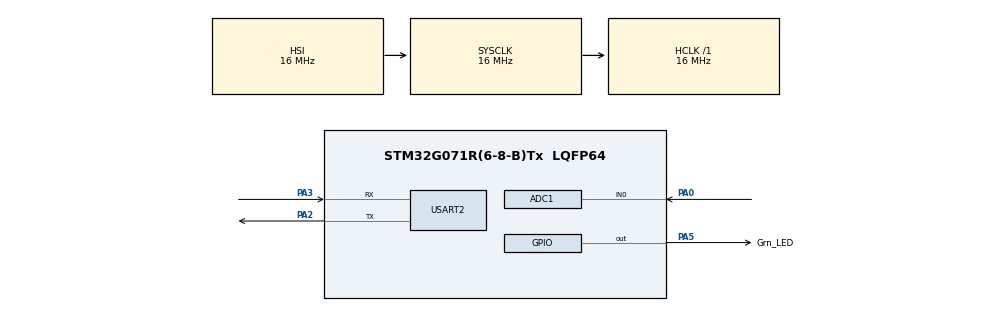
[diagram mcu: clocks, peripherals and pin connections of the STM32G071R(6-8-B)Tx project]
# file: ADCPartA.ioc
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ADC1.Channel-0\#ChannelRegularConversion=ADC_CHANNEL_0
ADC1.NbrOfConversionFlag=1
ADC1.Rank-0\#ChannelRegularConversion=1
ADC1.SamplingTime-0\#ChannelRegularConversion=ADC_SAMPLINGTIME_COMMON_1
ADC1.SamplingTimeCommon1=ADC_SAMPLETIME_3CYCLES_5
ADC1.SamplingTimeCommon2=ADC_SAMPLETIME_3CYCLES_5
ADC1.SelectedChannel=ADC_CHANNEL_0
ADC1.master=1
Mcu.Family=STM32G0
Mcu.Name=STM32G071R(6-8-B)Tx
Mcu.Package=LQFP64
PA0.Mode=IN0
PA0.Signal=ADC1_IN0
PA2.Mode=Asynchronous
PA2.Signal=USART2_TX
PA3.Mode=Asynchronous
PA3.Signal=USART2_RX
PA5.GPIO_Label=Grn_LED
PA5.Signal=GPIO_Output
ProjectManager.HeapSize=0x200
ProjectManager.StackSize=0x400
ProjectManager.TargetToolchain=STM32CubeIDE
RCC.AHBFreq_Value=16000000
RCC.CortexFreq_Value=16000000
RCC.EXTERNAL_CLOCK_VALUE=48000
RCC.HCLKFreq_Value=16000000
RCC.HSE_VALUE=8000000
RCC.HSI_VALUE=16000000
RCC.LSE_VALUE=32768
RCC.SYSCLKFreq_VALUE=16000000
RCC.VCOOutputFreq_Value=128000000
USART2.VirtualMode-Asynchronous=VM_ASYNC
board=custom

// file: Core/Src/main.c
/* USER CODE BEGIN Header */
/**
  ******************************************************************************
  * @file           : main.c
  * @brief          : Main program body
  ******************************************************************************
  * @attention
  *
  * Copyright (c) 2024 STMicroelectronics.
  * All rights reserved.
  *
  * This software is licensed under terms that can be found in the LICENSE file
  * in the root directory of this software component.
  * If no LICENSE file comes with this software, it is provided AS-IS.
  *
  ******************************************************************************
  */
/* USER CODE END Header */
#include "main.h"

/* USER CODE BEGIN PD */
#define NUMBER_OF_SAMPLES 1
#define NUMBER_OF_INPUTS 1
#define NUMBER_OF_CONVERSIONS (NUMBER_OF_SAMPLES*NUMBER_OF_INPUTS)

/* USER CODE END PD */

ADC_HandleTypeDef hadc1;

UART_HandleTypeDef huart2;

/* USER CODE BEGIN PV */
uint16_t ADCBuffer[NUMBER_OF_CONVERSIONS];
uint16_t ADCBufferIndex = 0;

/* USER CODE END PV */

void SystemClock_Config(void);
static void MX_GPIO_Init(void);
static void MX_ADC1_Init(void);
static void MX_USART2_UART_Init(void);

int main(void)
{

  /* USER CODE BEGIN 1 */
	void PrintOutputBuffer(uint8_t *OutputBuffer)
	  {
	  	uint32_t StringLength;
	  	HAL_StatusTypeDef HALStatus;

	  	for(StringLength =0; *(OutputBuffer+StringLength); StringLength++);

	  	HALStatus =HAL_UART_Transmit(&huart2, OutputBuffer,StringLength, HAL_MAX_DELAY);

	  	if(HALStatus !=HAL_OK){
	  		Error_Handler();
	  	}

	  }

  /* USER CODE END 1 */

  /* MCU Configuration--------------------------------------------------------*/

  /* Reset of all peripherals, Initializes the Flash interface and the Systick. */
  HAL_Init();

  /* Configure the system clock */
  SystemClock_Config();

  /* Initialize all configured peripherals */
  MX_GPIO_Init();
  MX_ADC1_Init();
  MX_USART2_UART_Init();
  /* USER CODE BEGIN 2 */
  if(HAL_ADCEx_Calibration_Start(&hadc1) != HAL_OK){
	  Error_Handler();
  }
  uint8_t OutputBuffer[200];
  /* USER CODE END 2 */

  /* Infinite loop */
  /* USER CODE BEGIN WHILE */
  while (1)

  {

	  //LED On
	  HAL_GPIO_TogglePin(Grn_LED_GPIO_Port,Grn_LED_Pin);

	  //Start ADC conversion
	  HAL_ADC_Start(&hadc1);
	  //Wait until conversion is complete
	  HAL_ADC_PollForConversion(&hadc1, HAL_MAX_DELAY);
	  HAL_ADC_Stop(&hadc1);

	  //LED OFF
	  HAL_GPIO_TogglePin(Grn_LED_GPIO_Port,Grn_LED_Pin);

	  //Store the conversion value in the buffer and update the buffer index.
	  ADCBuffer[ADCBufferIndex] = HAL_ADC_GetValue(&hadc1);
	  ADCBufferIndex++;
	  if(ADCBufferIndex == NUMBER_OF_CONVERSIONS){
		  ADCBufferIndex =0;
		  for(uint32_t i=0; i<NUMBER_OF_SAMPLES; i++){
			  sprintf((char *) OutputBuffer, "ADC sample = %u\r\n",ADCBuffer[i]);
			  PrintOutputBuffer(OutputBuffer);

		  }
	  }
    /* USER CODE END WHILE */

  }
}

void SystemClock_Config(void)
{
  RCC_OscInitTypeDef RCC_OscInitStruct = {0};
  RCC_ClkInitTypeDef RCC_ClkInitStruct = {0};

  /** Configure the main internal regulator output voltage
  */
  HAL_PWREx_ControlVoltageScaling(PWR_REGULATOR_VOLTAGE_SCALE1);

  /** Initializes the RCC Oscillators according to the specified parameters
  * in the RCC_OscInitTypeDef structure.
  */
  RCC_OscInitStruct.OscillatorType = RCC_OSCILLATORTYPE_HSI;
  RCC_OscInitStruct.HSIState = RCC_HSI_ON;
  RCC_OscInitStruct.HSIDiv = RCC_HSI_DIV1;
  RCC_OscInitStruct.HSICalibrationValue = RCC_HSICALIBRATION_DEFAULT;
  RCC_OscInitStruct.PLL.PLLState = RCC_PLL_NONE;
  if (HAL_RCC_OscConfig(&RCC_OscInitStruct) != HAL_OK)
  {
    Error_Handler();
  }

  /** Initializes the CPU, AHB and APB buses clocks
  */
  RCC_ClkInitStruct.ClockType = RCC_CLOCKTYPE_HCLK|RCC_CLOCKTYPE_SYSCLK
                              |RCC_CLOCKTYPE_PCLK1;
  RCC_ClkInitStruct.SYSCLKSource = RCC_SYSCLKSOURCE_HSI;
  RCC_ClkInitStruct.AHBCLKDivider = RCC_SYSCLK_DIV1;
  RCC_ClkInitStruct.APB1CLKDivider = RCC_HCLK_DIV1;

  if (HAL_RCC_ClockConfig(&RCC_ClkInitStruct, FLASH_LATENCY_0) != HAL_OK)
  {
    Error_Handler();
  }
}

static void MX_ADC1_Init(void)
{

  ADC_ChannelConfTypeDef sConfig = {0};

  /** Configure the global features of the ADC (Clock, Resolution, Data Alignment and number of conversion)
  */
  hadc1.Instance = ADC1;
  hadc1.Init.ClockPrescaler = ADC_CLOCK_SYNC_PCLK_DIV2;
  hadc1.Init.Resolution = ADC_RESOLUTION_12B;
  hadc1.Init.DataAlign = ADC_DATAALIGN_RIGHT;
  hadc1.Init.ScanConvMode = ADC_SCAN_DISABLE;
  hadc1.Init.EOCSelection = ADC_EOC_SINGLE_CONV;
  hadc1.Init.LowPowerAutoWait = DISABLE;
  hadc1.Init.LowPowerAutoPowerOff = DISABLE;
  hadc1.Init.ContinuousConvMode = DISABLE;
  hadc1.Init.NbrOfConversion = 1;
  hadc1.Init.DiscontinuousConvMode = DISABLE;
  hadc1.Init.ExternalTrigConv = ADC_SOFTWARE_START;
  hadc1.Init.ExternalTrigConvEdge = ADC_EXTERNALTRIGCONVEDGE_NONE;
  hadc1.Init.DMAContinuousRequests = DISABLE;
  hadc1.Init.Overrun = ADC_OVR_DATA_PRESERVED;
  hadc1.Init.SamplingTimeCommon1 = ADC_SAMPLETIME_3CYCLES_5;
  hadc1.Init.SamplingTimeCommon2 = ADC_SAMPLETIME_3CYCLES_5;
  hadc1.Init.OversamplingMode = DISABLE;
  hadc1.Init.TriggerFrequencyMode = ADC_TRIGGER_FREQ_HIGH;
  if (HAL_ADC_Init(&hadc1) != HAL_OK)
  {
    Error_Handler();
  }

  /** Configure Regular Channel
  */
  sConfig.Channel = ADC_CHANNEL_0;
  sConfig.Rank = ADC_REGULAR_RANK_1;
  sConfig.SamplingTime = ADC_SAMPLINGTIME_COMMON_1;
  if (HAL_ADC_ConfigChannel(&hadc1, &sConfig) != HAL_OK)
  {
    Error_Handler();
  }

}

static void MX_USART2_UART_Init(void)
{

  huart2.Instance = USART2;
  huart2.Init.BaudRate = 115200;
  huart2.Init.WordLength = UART_WORDLENGTH_8B;
  huart2.Init.StopBits = UART_STOPBITS_1;
  huart2.Init.Parity = UART_PARITY_NONE;
  huart2.Init.Mode = UART_MODE_TX_RX;
  huart2.Init.HwFlowCtl = UART_HWCONTROL_NONE;
  huart2.Init.OverSampling = UART_OVERSAMPLING_16;
  huart2.Init.OneBitSampling = UART_ONE_BIT_SAMPLE_DISABLE;
  huart2.Init.ClockPrescaler = UART_PRESCALER_DIV1;
  huart2.AdvancedInit.AdvFeatureInit = UART_ADVFEATURE_NO_INIT;
  if (HAL_UART_Init(&huart2) != HAL_OK)
  {
    Error_Handler();
  }
  if (HAL_UARTEx_SetTxFifoThreshold(&huart2, UART_TXFIFO_THRESHOLD_1_8) != HAL_OK)
  {
    Error_Handler();
  }
  if (HAL_UARTEx_SetRxFifoThreshold(&huart2, UART_RXFIFO_THRESHOLD_1_8) != HAL_OK)
  {
    Error_Handler();
  }
  if (HAL_UARTEx_DisableFifoMode(&huart2) != HAL_OK)
  {
    Error_Handler();
  }

}

static void MX_GPIO_Init(void)
{
  GPIO_InitTypeDef GPIO_InitStruct = {0};

  /* GPIO Ports Clock Enable */
  __HAL_RCC_GPIOA_CLK_ENABLE();

  /*Configure GPIO pin Output Level */
  HAL_GPIO_WritePin(Grn_LED_GPIO_Port, Grn_LED_Pin, GPIO_PIN_RESET);

  /*Configure GPIO pin : Grn_LED_Pin */
  GPIO_InitStruct.Pin = Grn_LED_Pin;
  GPIO_InitStruct.Mode = GPIO_MODE_OUTPUT_PP;
  GPIO_InitStruct.Pull = GPIO_NOPULL;
  GPIO_InitStruct.Speed = GPIO_SPEED_FREQ_LOW;
  HAL_GPIO_Init(Grn_LED_GPIO_Port, &GPIO_InitStruct);

}

void Error_Handler(void)
{
  __disable_irq();
  while (1)
  {
  }
}
